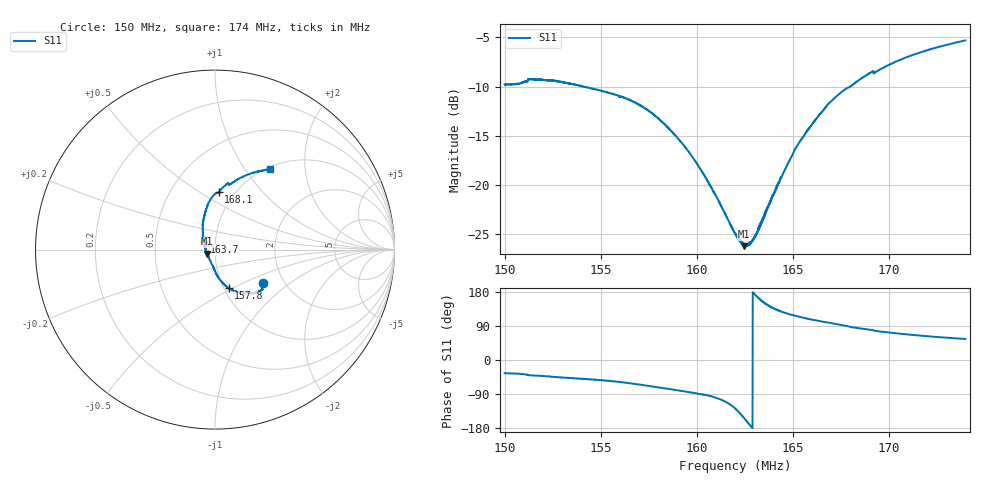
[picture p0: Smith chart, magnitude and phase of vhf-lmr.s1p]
! Calibrated averaged scanner-service zoom
# Hz S RI R 50
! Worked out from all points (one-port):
!   2001 points, 150 MHz to 174 MHz, reference 50 ohm
!   lowest |S11| = -26.2 dB at 162.5 MHz (marker M1), VSWR 1.10, Z = 45.8 - j2.06 ohm
!   |S11| at or under -10 dB: 154.1063 MHz to 154.1277 MHz (21.41 kHz wide, 0.0139 % of centre); 154.1 MHz to 168 MHz (13.87 MHz wide, 8.61 % of centre); 168.0023 MHz to 168.0165 MHz (14.22 kHz wide, 0.00846 % of centre)
!   S11 on the Smith chart (normalised r, x): 150 MHz: 1.56, -0.65; 157.8 MHz: 1.05, -0.48; 163.7 MHz: 0.88, +0.07; 168.1 MHz: 0.84, +0.60; 174 MHz: 1.04, +1.32
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1.5e8  0.2658 -0.1849
1.50768e8  0.2645 -0.194
1.51332e8  0.2617 -0.2227
1.53e8  0.2307 -0.2423
1.56e8  0.1518 -0.2392
1.56876e8  0.1145 -0.2327
1.57764e8  0.0766 -0.2154
1.59e8  0.0304 -0.1712
1.59708e8  0.0109 -0.1417
1.60404e8  -0.00397 -0.1118
1.61016e8  -0.0149 -0.0865
1.62e8  -0.0343 -0.0454
1.62468e8  -0.0435 -0.0224
1.62696e8  -0.0493 -0.0114
1.62948e8  -0.0534 0.00196
1.63176e8  -0.0557 0.0145
1.63656e8  -0.0624 0.0422
1.6428e8  -0.0666 0.0778
1.65e8  -0.068 0.1251
1.65732e8  -0.0609 0.1753
1.66812e8  -0.0406 0.2522
1.67508e8  -0.0144 0.2942
1.68e8  0.0126 0.3161
1.68096e8  0.0197 0.321
1.6908e8  0.0679 0.3669
1.69332e8  0.0858 0.3654
1.71e8  0.1721 0.4138
1.74e8  0.3075 0.4464
